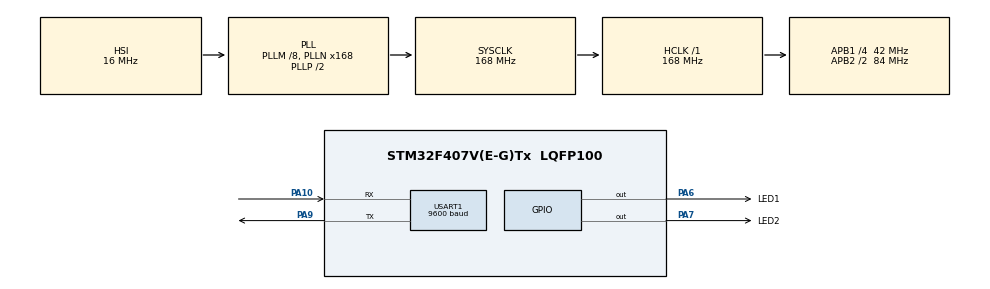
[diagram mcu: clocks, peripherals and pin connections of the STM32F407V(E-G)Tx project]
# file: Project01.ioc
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Mcu.Family=STM32F4
PH0-OSC_IN.Signal=RCC_OSC_IN
RCC.CortexFreq_Value=168000000
PA10.Mode=Asynchronous
USART1.BaudRate=9600
PA7.GPIO_ModeDefaultOutputPP=GPIO_MODE_OUTPUT_PP
PA6.PinState=GPIO_PIN_SET
PA6.GPIO_Label=LED1
RCC.APB1CLKDivider=RCC_HCLK_DIV4
RCC.SYSCLKSource=RCC_SYSCLKSOURCE_PLLCLK
ProjectManager.StackSize=0x4000
PA13.Signal=SYS_JTMS-SWDIO
PA9.Mode=Asynchronous
PA7.PinState=GPIO_PIN_SET
ProjectManager.TargetToolchain=STM32CubeIDE
RCC.HCLKFreq_Value=168000000
RCC.APB2TimFreq_Value=168000000
PA9.Signal=USART1_TX
RCC.LSE_VALUE=32768
PA7.GPIO_PuPd=GPIO_PULLUP
RCC.AHBFreq_Value=168000000
PH0-OSC_IN.Mode=HSE-External-Oscillator
RCC.HSE_VALUE=8000000
board=custom
RCC.VCOOutputFreq_Value=336000000
PA7.GPIO_Speed=GPIO_SPEED_FREQ_LOW
RCC.APB2Freq_Value=84000000
PA6.GPIO_PuPd=GPIO_PULLUP
PA14.Mode=Serial_Wire
PH1-OSC_OUT.Signal=RCC_OSC_OUT
PA13.Mode=Serial_Wire
Mcu.Name=STM32F407V(E-G)Tx
PH1-OSC_OUT.Mode=HSE-External-Oscillator
RCC.48MHZClocksFreq_Value=84000000
RCC.SYSCLKFreq_VALUE=168000000
Mcu.Package=LQFP100
PA6.Signal=GPIO_Output
PA7.GPIO_Label=LED2
USART1.VirtualMode=VM_ASYNC
PA10.Signal=USART1_RX
PA14.Signal=SYS_JTCK-SWCLK
ProjectManager.HeapSize=0x2000
RCC.HSI_VALUE=16000000
PA6.GPIO_ModeDefaultOutputPP=GPIO_MODE_OUTPUT_PP
NVIC.PriorityGroup=NVIC_PRIORITYGROUP_4
RCC.APB2CLKDivider=RCC_HCLK_DIV2
RCC.PLLM=8
RCC.PLLN=168
RCC.APB1TimFreq_Value=84000000
PA6.GPIO_Speed=GPIO_SPEED_FREQ_LOW
NVIC.USART1_IRQn=true\:0\:0\:false\:false\:true\:true\:true
RCC.APB1Freq_Value=42000000
PA7.Signal=GPIO_Output

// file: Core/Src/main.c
/* USER CODE BEGIN Header */
/**
  ******************************************************************************
  * @file           : main.c
  * @brief          : Main program body
  ******************************************************************************
  * @attention
  *
  * <h2><center>&copy; Copyright (c) 2021 STMicroelectronics.
  * All rights reserved.</center></h2>
  *
  * This software component is licensed by ST under BSD 3-Clause license,
  * the "License"; You may not use this file except in compliance with the
  * License. You may obtain a copy of the License at:
  *                        opensource.org/licenses/BSD-3-Clause
  *
  ******************************************************************************
  */
/* USER CODE END Header */
#include "main.h"

/* USER CODE BEGIN PTD */
uint8_t f_received, path;
uint8_t mControl, mDataRx[3];
uint8_t mMess[] = "Hello !\n";
/* USER CODE END PTD */

UART_HandleTypeDef huart1;

void SystemClock_Config(void);
static void MX_GPIO_Init(void);
static void MX_USART1_UART_Init(void);

int main(void)
{

  /* MCU Configuration--------------------------------------------------------*/

  /* Reset of all peripherals, Initializes the Flash interface and the Systick. */
  HAL_Init();

  /* Configure the system clock */
  SystemClock_Config();

  /* Initialize all configured peripherals */
  MX_GPIO_Init();
  MX_USART1_UART_Init();
  /* USER CODE BEGIN 2 */
  HAL_UART_Receive_IT(&huart1, (uint8_t*)mDataRx, 1);
  HAL_UART_Transmit(&huart1, (uint8_t*)mMess, sizeof(mMess), HAL_TIMEOUT);
  HAL_Delay(100);
  /* USER CODE END 2 */

  /* Infinite loop */
  while (1)
  {

    /* USER CODE BEGIN 3 */
	  if(f_received)
	  {
		  switch(mControl)
		  {
			  case 0:
				  HAL_GPIO_WritePin(LED1_GPIO_Port, LED1_Pin, GPIO_PIN_SET);
				  HAL_GPIO_WritePin(LED2_GPIO_Port, LED2_Pin, GPIO_PIN_SET);
				  break;
			  case 1:
				  HAL_GPIO_WritePin(LED1_GPIO_Port, LED1_Pin, GPIO_PIN_RESET);
				  HAL_GPIO_WritePin(LED2_GPIO_Port, LED2_Pin, GPIO_PIN_SET);
				  break;
			  case 2:
				  HAL_GPIO_WritePin(LED1_GPIO_Port, LED1_Pin, GPIO_PIN_SET);
				  HAL_GPIO_WritePin(LED2_GPIO_Port, LED2_Pin, GPIO_PIN_RESET);
				  break;
			  case 3:
				  HAL_GPIO_WritePin(LED1_GPIO_Port, LED1_Pin, GPIO_PIN_RESET);
				  HAL_GPIO_WritePin(LED2_GPIO_Port, LED2_Pin, GPIO_PIN_RESET);
				  break;
			  default:
				  HAL_GPIO_WritePin(LED1_GPIO_Port, LED1_Pin, GPIO_PIN_SET);
				  HAL_GPIO_WritePin(LED2_GPIO_Port, LED2_Pin, GPIO_PIN_SET);
				  break;
		  }
		  f_received = 0;
	  }
  }
  /* USER CODE END 3 */
}

void SystemClock_Config(void)
{
  RCC_OscInitTypeDef RCC_OscInitStruct = {0};
  RCC_ClkInitTypeDef RCC_ClkInitStruct = {0};

  /** Configure the main internal regulator output voltage
  */
  __HAL_RCC_PWR_CLK_ENABLE();
  __HAL_PWR_VOLTAGESCALING_CONFIG(PWR_REGULATOR_VOLTAGE_SCALE1);
  /** Initializes the RCC Oscillators according to the specified parameters
  * in the RCC_OscInitTypeDef structure.
  */
  RCC_OscInitStruct.OscillatorType = RCC_OSCILLATORTYPE_HSI;
  RCC_OscInitStruct.HSIState = RCC_HSI_ON;
  RCC_OscInitStruct.HSICalibrationValue = RCC_HSICALIBRATION_DEFAULT;
  RCC_OscInitStruct.PLL.PLLState = RCC_PLL_ON;
  RCC_OscInitStruct.PLL.PLLSource = RCC_PLLSOURCE_HSI;
  RCC_OscInitStruct.PLL.PLLM = 8;
  RCC_OscInitStruct.PLL.PLLN = 168;
  RCC_OscInitStruct.PLL.PLLP = RCC_PLLP_DIV2;
  RCC_OscInitStruct.PLL.PLLQ = 4;
  if (HAL_RCC_OscConfig(&RCC_OscInitStruct) != HAL_OK)
  {
    Error_Handler();
  }
  /** Initializes the CPU, AHB and APB buses clocks
  */
  RCC_ClkInitStruct.ClockType = RCC_CLOCKTYPE_HCLK|RCC_CLOCKTYPE_SYSCLK
                              |RCC_CLOCKTYPE_PCLK1|RCC_CLOCKTYPE_PCLK2;
  RCC_ClkInitStruct.SYSCLKSource = RCC_SYSCLKSOURCE_PLLCLK;
  RCC_ClkInitStruct.AHBCLKDivider = RCC_SYSCLK_DIV1;
  RCC_ClkInitStruct.APB1CLKDivider = RCC_HCLK_DIV4;
  RCC_ClkInitStruct.APB2CLKDivider = RCC_HCLK_DIV2;

  if (HAL_RCC_ClockConfig(&RCC_ClkInitStruct, FLASH_LATENCY_5) != HAL_OK)
  {
    Error_Handler();
  }
}

static void MX_USART1_UART_Init(void)
{

  huart1.Instance = USART1;
  huart1.Init.BaudRate = 115200;
  huart1.Init.WordLength = UART_WORDLENGTH_8B;
  huart1.Init.StopBits = UART_STOPBITS_1;
  huart1.Init.Parity = UART_PARITY_NONE;
  huart1.Init.Mode = UART_MODE_TX_RX;
  huart1.Init.HwFlowCtl = UART_HWCONTROL_NONE;
  huart1.Init.OverSampling = UART_OVERSAMPLING_16;
  if (HAL_UART_Init(&huart1) != HAL_OK)
  {
    Error_Handler();
  }

}

static void MX_GPIO_Init(void)
{
  GPIO_InitTypeDef GPIO_InitStruct = {0};

  /* GPIO Ports Clock Enable */
  __HAL_RCC_GPIOH_CLK_ENABLE();
  __HAL_RCC_GPIOA_CLK_ENABLE();

  /*Configure GPIO pin Output Level */
  HAL_GPIO_WritePin(GPIOA, LED1_Pin|LED2_Pin, GPIO_PIN_SET);

  /*Configure GPIO pins : LED1_Pin LED2_Pin */
  GPIO_InitStruct.Pin = LED1_Pin|LED2_Pin;
  GPIO_InitStruct.Mode = GPIO_MODE_OUTPUT_PP;
  GPIO_InitStruct.Pull = GPIO_PULLUP;
  GPIO_InitStruct.Speed = GPIO_SPEED_FREQ_LOW;
  HAL_GPIO_Init(GPIOA, &GPIO_InitStruct);

}

/* USER CODE BEGIN 4 */
void HAL_UART_RxCpltCallback(UART_HandleTypeDef *huart)
{
	if(huart == &huart1)
	{
		switch(path)
		{
			case 0:
				if(mDataRx[0] == 0x00)
					path++;
				break;
			case 1:
				mControl = mDataRx[0];
				path++;
				break;
			case 2:
				if(mDataRx[0] == 0xff)
				f_received = 1;
				path = 0;
				break;
		}
		HAL_UART_Receive_IT(&huart1, (uint8_t*)mDataRx, 1);
	}
}
/* USER CODE END 4 */

void Error_Handler(void)
{
  __disable_irq();
  while (1)
  {
  }
}

/************************ (C) COPYRIGHT STMicroelectronics *****END OF FILE****/
